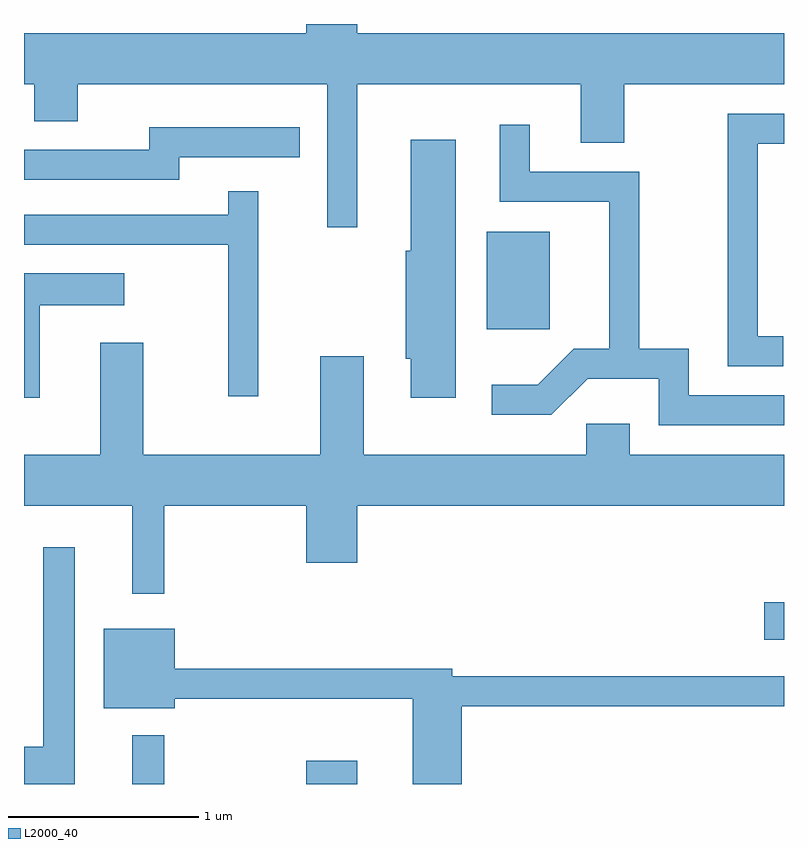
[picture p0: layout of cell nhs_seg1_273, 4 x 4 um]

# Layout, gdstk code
import gdstk
lib = gdstk.Library(unit=1e-6, precision=1e-09)
def R(c, l, rs):  # rectangles x0, y0, x1, y1
    for r in rs: c.add(gdstk.rectangle(r[:2], r[2:], *l))
def P(c, l, *ps):  # polygons
    for p in ps: c.add(gdstk.Polygon(p, *l))
L2000_40 = (2000, 40)

nhs_seg1_273 = lib.new_cell('nhs_seg1_273')
R(nhs_seg1_273, L2000_40, [(194.181,853.712,194.349,853.968), (195.096,853.712,195.364,853.834), (197.506,854.471,197.611,854.669), (196.046,856.106,196.379,856.619)])
P(nhs_seg1_273, L2000_40, [(195.364,857.396),(196.541,857.396),(196.541,857.086),(196.769,857.086),(196.769,857.396),(197.611,857.396),(197.611,857.664),(195.364,857.664),(195.364,857.712),(195.096,857.712),(195.096,857.664),(193.611,857.664),(193.611,857.396),(193.666,857.396),(193.666,857.201),(193.894,857.201),(193.894,857.396),(195.206,857.396),(195.206,856.643),(195.364,856.643)],
  [(197.608,856.069),(197.474,856.069),(197.474,857.081),(197.611,857.081),(197.611,857.239),(197.316,857.239),(197.316,855.911),(197.608,855.911)],
  [(197.611,855.759),(197.109,855.759),(197.109,856.004),(196.849,856.004),(196.849,856.934),(196.274,856.934),(196.274,857.183),(196.116,857.183),(196.116,856.776),(196.691,856.776),(196.691,856.004),(196.504,856.004),(196.314,855.814),(196.073,855.814),(196.073,855.656),(196.387,855.656),(196.577,855.846),(196.951,855.846),(196.951,855.601),(197.611,855.601)],
  [(194.429,857.011),(195.063,857.011),(195.063,857.169),(194.271,857.169),(194.271,857.049),(193.611,857.049),(193.611,856.891),(194.429,856.891)],
  [(195.884,857.104),(195.646,857.104),(195.646,856.519),(195.621,856.519),(195.621,855.951),(195.646,855.951),(195.646,855.746),(195.884,855.746)],
  [(194.844,856.833),(194.686,856.833),(194.686,856.709),(193.611,856.709),(193.611,856.551),(194.686,856.551),(194.686,855.753),(194.844,855.753)],
  [(193.694,856.231),(194.138,856.231),(194.138,856.399),(193.611,856.399),(193.611,855.746),(193.694,855.746)],
  [(194.349,855.176),(195.096,855.176),(195.096,854.876),(195.364,854.876),(195.364,855.176),(197.611,855.176),(197.611,855.444),(196.799,855.444),(196.799,855.609),(196.571,855.609),(196.571,855.444),(195.399,855.444),(195.399,855.964),(195.171,855.964),(195.171,855.444),(194.239,855.444),(194.239,856.034),(194.011,856.034),(194.011,855.444),(193.611,855.444),(193.611,855.176),(194.181,855.176),(194.181,854.713),(194.349,854.713)],
  [(193.879,854.958),(193.711,854.958),(193.711,853.909),(193.611,853.909),(193.611,853.712),(193.879,853.712)],
  [(195.914,854.121),(197.611,854.121),(197.611,854.279),(195.864,854.279),(195.864,854.319),(194.404,854.319),(194.404,854.529),(194.031,854.529),(194.031,854.111),(194.404,854.111),(194.404,854.161),(195.656,854.161),(195.656,853.712),(195.914,853.712)])

lib.write_gds('nhs_seg1_273.gds')
